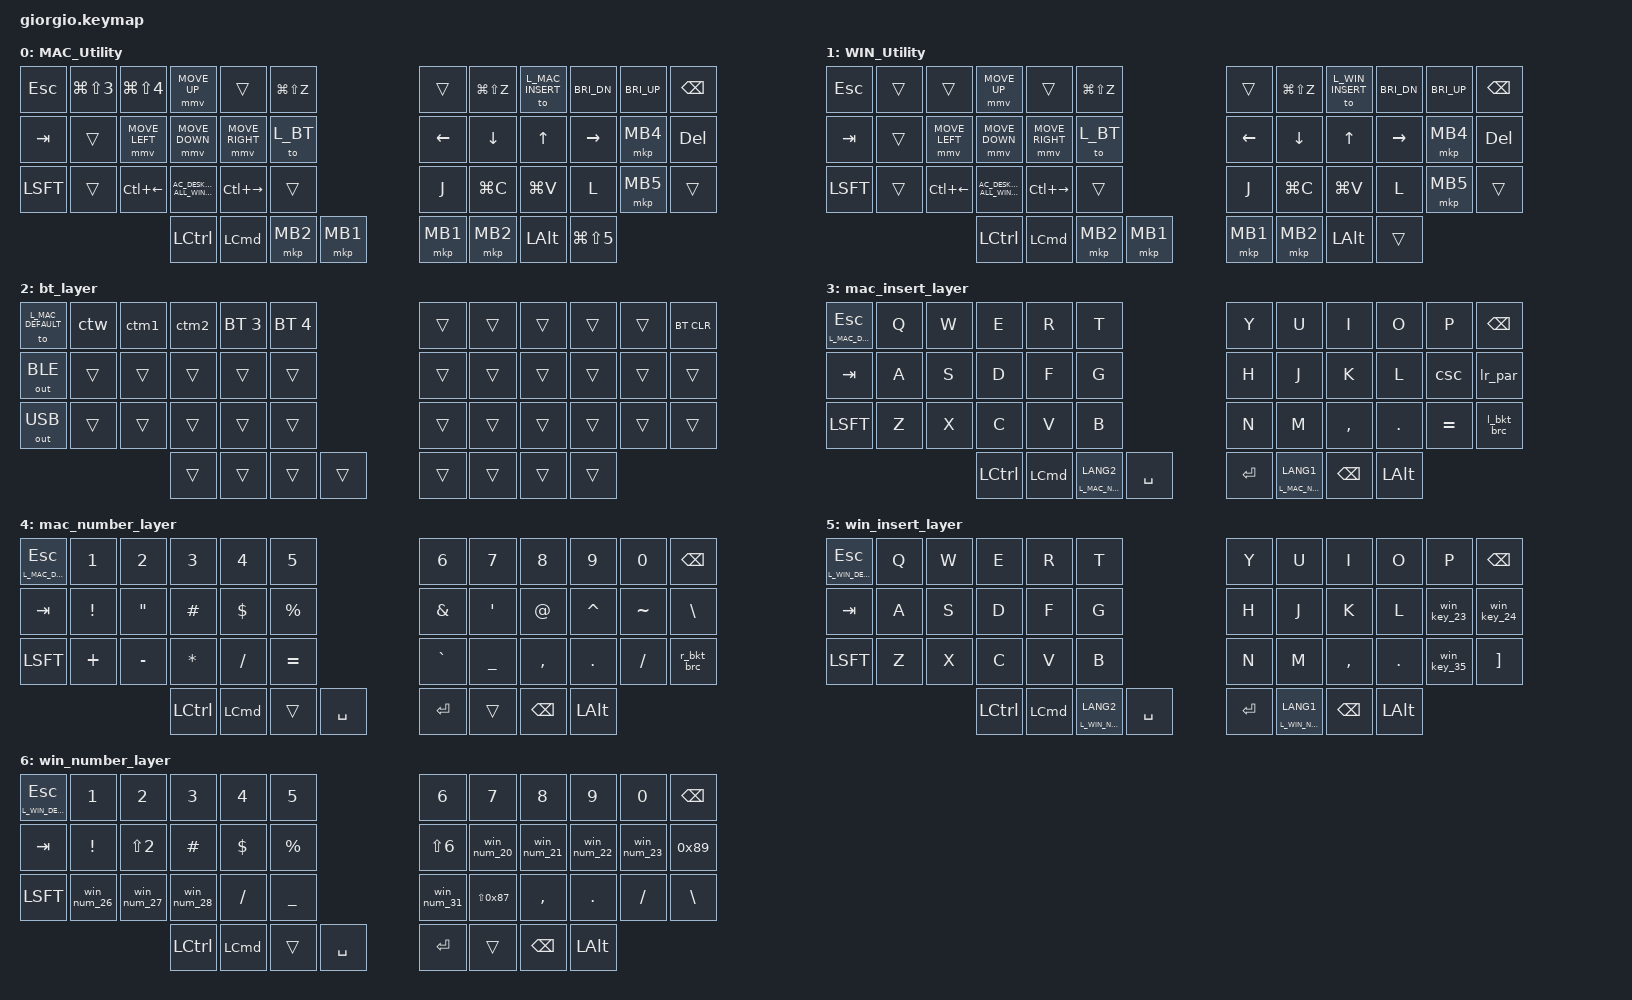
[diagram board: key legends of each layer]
#include <behaviors.dtsi>
#include <dt-bindings/zmk/keys.h>
#include <dt-bindings/zmk/bt.h>
#include <dt-bindings/zmk/pointing.h>
#include <dt-bindings/zmk/outputs.h>

#define SS3 LG(LS(N3))
#define SS4 LG(LS(N4))
#define SS5 LG(LS(N5))

#define MY_UNDO LG(Z)
#define MY_REDO LG(LS(Z))

#define MY_COPY LG(C)
#define MY_PASTE LG(V)

#define MISCON C_AC_DESKTOP_SHOW_ALL_WINDOWS

#define L_MAC_DEFAULT 0
#define L_WIN_DEFAULT 1
#define L_BT 2
#define L_MAC_INSERT 3
#define L_MAC_NUMBER 4
#define L_WIN_INSERT 5
#define L_WIN_NUMBER 6

/ {
    behaviors {
        rot_kp: sensor_rotate_kp {
            compatible = "zmk,behavior-sensor-rotate-var";
            #sensor-binding-cells = <2>;
            bindings = <&msc>, <&msc>;
        };

        ltt: layer_tap_to {
            compatible = "zmk,behavior-hold-tap";
            #binding-cells = <2>;
            flavor = "tap-preferred";
            tapping-term-ms = <200>;
            bindings = <&to>, <&kp>;
            display-name = "Layer-Tap-To";
        };

        lr_par: lr_par {
            compatible = "zmk,behavior-mod-morph";
            #binding-cells = <0>;
            bindings = <&kp LPAR>, <&kp RPAR>;
            mods = <MOD_LSFT>;
        };

        l_bkt_brc: l_bkt_brc {
            compatible = "zmk,behavior-mod-morph";
            #binding-cells = <0>;
            bindings = <&kp LBKT>, <&kp LBRC>;
            mods = <MOD_LSFT>;
        };

        r_bkt_brc: r_bkt_brc {
            compatible = "zmk,behavior-mod-morph";
            #binding-cells = <0>;
            bindings = <&kp RBKT>, <&kp RBRC>;
            mods = <MOD_LSFT>;
        };
        
        csc: col_semi_col {
            compatible = "zmk,behavior-mod-morph";
            #binding-cells = <0>;
            bindings = <&kp COLON>, <&kp SEMICOLON>;
            mods = <MOD_LSFT>;
        };

        win_key_23: win_key_23 {
            compatible = "zmk,behavior-mod-morph";
            #binding-cells = <0>;
            bindings = <&kp SQT>, <&kp SEMICOLON>;
            mods = <MOD_LSFT>;
        };
        win_key_24: win_key_24 { // ( )
            compatible = "zmk,behavior-mod-morph";
            #binding-cells = <0>;
            bindings = <&kp LS(N8)>, <&kp LS(N9)>;
            mods = <MOD_LSFT>; 
        };
        win_key_35: win_key_35 {
            compatible = "zmk,behavior-mod-morph";
            #binding-cells = <0>;
            bindings = <&kp UNDER>, <&kp COLON>;
            mods = <MOD_LSFT>; 
        };

        win_num_20: win_num_20 { // ' "
            compatible = "zmk,behavior-mod-morph";
            #binding-cells = <0>;
            bindings = <&kp LS(N7)>, <&kp LS(N2)>;
            mods = <MOD_LSFT>;
        };
        win_num_21: win_num_21 { // @ @
            compatible = "zmk,behavior-mod-morph";
            #binding-cells = <0>;
            bindings = <&kp LBKT>, <&kp LBKT>;
            mods = <MOD_LSFT>;
        };
        win_num_22: win_num_22 { // ^ ^
            compatible = "zmk,behavior-mod-morph";
            #binding-cells = <0>;
            bindings = <&kp EQUAL>, <&kp EQUAL>;
            mods = <MOD_LSFT>;
        };
        win_num_23: win_num_23 { // ~ ~
            compatible = "zmk,behavior-mod-morph";
            #binding-cells = <0>;
            bindings = <&kp PLUS>, <&kp PLUS>;
            mods = <MOD_LSFT>;
        };
        win_num_24: win_num_24 { // ¥ | todo
            compatible = "zmk,behavior-mod-morph";
            #binding-cells = <0>;
            bindings = <&kp PLUS>, <&kp PLUS>;
            mods = <MOD_LSFT>;
        };
        win_num_26: win_num_26 { // + +
            compatible = "zmk,behavior-mod-morph";
            #binding-cells = <0>;
            bindings = <&kp COLON>, <&kp COLON>;
            mods = <MOD_LSFT>;
        };
        win_num_27: win_num_27 { // - _ todo
            compatible = "zmk,behavior-mod-morph";
            #binding-cells = <0>;
            bindings = <&kp MINUS>, <&kp LS(0x87)>;
            mods = <MOD_LSFT>;
        };
        win_num_28: win_num_28 { // - _ todo
            compatible = "zmk,behavior-mod-morph";
            #binding-cells = <0>;
            bindings = <&kp DQT>, <&kp DQT>;
            mods = <MOD_LSFT>;
        };
        win_num_31: win_num_31 { // ` ~
            compatible = "zmk,behavior-mod-morph";
            #binding-cells = <0>;
            bindings = <&kp LBRC>, <&kp PLUS>;
            mods = <MOD_LSFT>;
        };
        win_num_32: win_num_32 { // _ _ todo
            compatible = "zmk,behavior-mod-morph";
            #binding-cells = <0>;
            bindings = <&kp MINUS>, <&kp MINUS>;
            mods = <MOD_LSFT>;
        };
    };

    macros {
        ctw: connect_to_win {
            compatible = "zmk,behavior-macro";
            #binding-cells = <0>;
            bindings
                = <&macro_tap &bt BT_SEL 0>
                , <&macro_tap &to L_WIN_DEFAULT>
                ;
        };
        ctm1: connect_to_mac1 {
            compatible = "zmk,behavior-macro";
            #binding-cells = <0>;
            bindings
                = <&macro_tap &bt BT_SEL 1>
                , <&macro_tap &to L_MAC_DEFAULT>
                ;
        };
        ctm2: connect_to_mac2 {
            compatible = "zmk,behavior-macro";
            #binding-cells = <0>;
            bindings
                = <&macro_tap &bt BT_SEL 2>
                , <&macro_tap &to L_MAC_DEFAULT>
                ;
        };
    };

    keymap {
        compatible = "zmk,keymap";

        default_layer { // L_MAC_DEFAULT
            display-name = "MAC_Utility";
            bindings = <
                &kp ESC   &kp SS3        &kp SS4        &mmv MOVE_UP   &trans             &kp LG(LS(Z))       &trans    &kp LG(LS(Z)) &to L_MAC_INSERT &kp C_BRI_DN   &kp C_BRI_UP    &kp BSPC
                &kp TAB   &trans         &mmv MOVE_LEFT &mmv MOVE_DOWN &mmv MOVE_RIGHT    &to L_BT            &kp LEFT  &kp DOWN      &kp UP           &kp RIGHT      &mkp MB4        &kp DEL
                &kp LSFT  &trans         &kp LC(LEFT)   &kp MISCON     &kp LC(RIGHT)      &trans              &kp J     &kp MY_COPY   &kp MY_PASTE     &kp L          &mkp MB5        &trans
                                         &kp LCTRL      &kp LCMD       &mkp MB2           &mkp MB1            &mkp MB1  &mkp MB2      &kp LALT         &kp SS5
            >;
        };

        win_default_layer { // L_WIN_DEFAULT
            display-name = "WIN_Utility";
            bindings = <
                &kp ESC   &trans         &trans         &mmv MOVE_UP   &trans             &kp LG(LS(Z))       &trans    &kp LG(LS(Z)) &to L_WIN_INSERT &kp C_BRI_DN   &kp C_BRI_UP    &kp BSPC
                &kp TAB   &trans         &mmv MOVE_LEFT &mmv MOVE_DOWN &mmv MOVE_RIGHT    &to L_BT            &kp LEFT  &kp DOWN      &kp UP           &kp RIGHT      &mkp MB4        &kp DEL
                &kp LSFT  &trans         &kp LC(LEFT)   &kp MISCON     &kp LC(RIGHT)      &trans              &kp J     &kp MY_COPY   &kp MY_PASTE     &kp L          &mkp MB5        &trans
                                         &kp LCTRL      &kp LCMD       &mkp MB2           &mkp MB1            &mkp MB1  &mkp MB2      &kp LALT         &trans
            >;
        };

        bt_layer { // L_BT
            bindings = <
                &to L_MAC_DEFAULT &ctw      &ctm1          &ctm2          &bt BT_SEL 3       &bt BT_SEL 4      &trans     &trans            &trans          &trans         &trans          &bt BT_CLR
                &out OUT_BLE      &trans    &trans         &trans         &trans             &trans            &trans     &trans            &trans          &trans         &trans          &trans
                &out OUT_USB      &trans    &trans         &trans         &trans             &trans            &trans     &trans            &trans          &trans         &trans          &trans
                                            &trans         &trans         &trans             &trans            &trans     &trans            &trans          &trans
            >;
        };

        // Macintosh =========================================================
        mac_insert_layer { // L_MAC_INSERT
            bindings = <
                &ltt L_MAC_DEFAULT ESC &kp Q         &kp W          &kp E          &kp R         &kp T                                            &kp Y                  &kp U           &kp I           &kp O          &kp P           &kp BSPC
                &kp TAB            &kp A         &kp S          &kp D          &kp F         &kp G                                            &kp H                  &kp J           &kp K           &kp L          &csc            &lr_par
                &kp LSFT           &kp Z         &kp X          &kp C          &kp V         &kp B                                            &kp N                  &kp M           &kp COMMA       &kp PERIOD     &kp EQUAL       &l_bkt_brc
                                                                &kp LCTRL      &kp LCMD      &lt L_MAC_NUMBER LANG2  &kp SPACE     &kp ENTER  &lt L_MAC_NUMBER LANG1 &kp BSPC        &kp LALT
            >;
        };

        mac_number_layer { // L_MAC_NUMBER
            bindings = <
                &ltt L_MAC_DEFAULT ESC &kp N1          &kp N2         &kp N3         &kp N4             &kp N5                                          &kp N6         &kp N7            &kp N8          &kp N9         &kp N0          &kp BSPC
                &kp TAB                &kp EXCL        &kp DQT        &kp HASH       &kp DLLR           &kp PRCNT                                       &kp AMPS       &kp SQT           &kp AT          &kp CARET      &kp TILDE       &kp BSLH
                &kp LSFT               &kp PLUS        &kp MINUS      &kp STAR       &kp SLASH          &kp EQUAL                                       &kp GRAVE      &kp UNDER         &kp COMMA       &kp PERIOD     &kp SLASH       &r_bkt_brc
                                                                  &kp LCTRL      &kp LCMD           &trans       &kp SPC               &kp ENTER    &trans         &kp BSPC          &kp LALT
            >;
        };

        // Windows ===========================================================
        win_insert_layer { // L_WIN_INSERT
            bindings = <
                &ltt L_WIN_DEFAULT ESC &kp Q         &kp W          &kp E          &kp R         &kp T                                            &kp Y                  &kp U           &kp I           &kp O          &kp P           &kp BSPC
                &kp TAB            &kp A         &kp S          &kp D          &kp F         &kp G                                            &kp H                  &kp J           &kp K           &kp L          &win_key_23     &win_key_24
                &kp LSFT           &kp Z         &kp X          &kp C          &kp V         &kp B                                            &kp N                  &kp M           &kp COMMA       &kp PERIOD     &win_key_35     &kp RBKT
                                                                &kp LCTRL      &kp LCMD      &lt L_WIN_NUMBER LANG2  &kp SPACE     &kp ENTER  &lt L_WIN_NUMBER LANG1 &kp BSPC        &kp LALT
            >;
        };

        win_number_layer { // L_WIN_NUMBER
            bindings = <
                &ltt L_WIN_DEFAULT ESC &kp N1          &kp N2         &kp N3         &kp N4             &kp N5                                          &kp N6         &kp N7            &kp N8          &kp N9         &kp N0          &kp BSPC
                &kp TAB            &kp EXCL        &kp LS(N2)   &kp HASH       &kp DLLR           &kp PRCNT                                       &kp LS(N6)   &win_num_20       &win_num_21     &win_num_22    &win_num_23     &kp 0x89
                &kp LSFT           &win_num_26     &win_num_27    &win_num_28    &kp SLASH          &kp UNDER                                       &win_num_31    &kp LS(0x87)      &kp COMMA       &kp PERIOD     &kp SLASH       &kp BSLH
                                                                  &kp LCTRL      &kp LCMD           &trans       &kp SPC               &kp ENTER    &trans         &kp BSPC          &kp LALT
            >;
        };

    };
};
